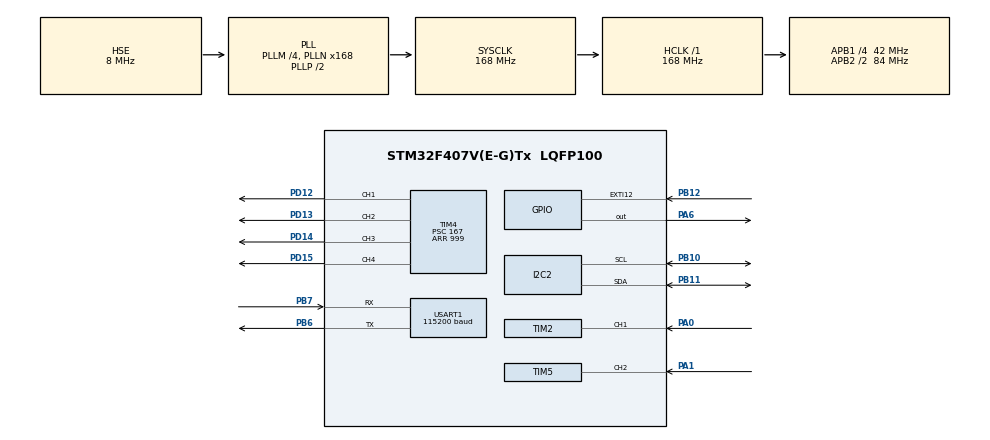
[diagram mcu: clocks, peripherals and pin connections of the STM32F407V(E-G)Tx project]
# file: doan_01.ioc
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Mcu.Family=STM32F4
Mcu.Name=STM32F407V(E-G)Tx
Mcu.Package=LQFP100
NVIC.EXTI15_10_IRQn=true\:2\:0\:true\:false\:true\:true\:true\:true
NVIC.PriorityGroup=NVIC_PRIORITYGROUP_4
NVIC.TIM2_IRQn=true\:1\:0\:true\:false\:true\:true\:true\:true
NVIC.TIM5_IRQn=true\:1\:0\:true\:false\:true\:true\:true\:true
PA0-WKUP.Signal=S_TIM2_CH1_ETR
PA1.Signal=S_TIM5_CH2
PA13.Mode=Serial_Wire
PA13.Signal=SYS_JTMS-SWDIO
PA14.Mode=Serial_Wire
PA14.Signal=SYS_JTCK-SWCLK
PA6.Signal=GPIO_Output
PB10.Mode=I2C
PB10.Signal=I2C2_SCL
PB11.Mode=I2C
PB11.Signal=I2C2_SDA
PB12.Signal=GPXTI12
PB6.Mode=Asynchronous
PB6.Signal=USART1_TX
PB7.Mode=Asynchronous
PB7.Signal=USART1_RX
PD12.Signal=S_TIM4_CH1
PD13.Signal=S_TIM4_CH2
PD14.Signal=S_TIM4_CH3
PD15.Signal=S_TIM4_CH4
PH0-OSC_IN.Mode=HSE-External-Oscillator
PH0-OSC_IN.Signal=RCC_OSC_IN
PH1-OSC_OUT.Mode=HSE-External-Oscillator
PH1-OSC_OUT.Signal=RCC_OSC_OUT
ProjectManager.HeapSize=0x200
ProjectManager.StackSize=0x400
ProjectManager.TargetToolchain=MDK-ARM V5.32
RCC.48MHZClocksFreq_Value=84000000
RCC.AHBFreq_Value=168000000
RCC.APB1CLKDivider=RCC_HCLK_DIV4
RCC.APB1Freq_Value=42000000
RCC.APB1TimFreq_Value=84000000
RCC.APB2CLKDivider=RCC_HCLK_DIV2
RCC.APB2Freq_Value=84000000
RCC.APB2TimFreq_Value=168000000
RCC.CortexFreq_Value=168000000
RCC.HCLKFreq_Value=168000000
RCC.HSE_VALUE=8000000
RCC.HSI_VALUE=16000000
RCC.LSE_VALUE=32768
RCC.PLLM=4
RCC.PLLN=168
RCC.PLLSourceVirtual=RCC_PLLSOURCE_HSE
RCC.SYSCLKFreq_VALUE=168000000
RCC.SYSCLKSource=RCC_SYSCLKSOURCE_PLLCLK
RCC.VCOOutputFreq_Value=336000000
SH.S_TIM2_CH1_ETR.0=TIM2_CH1,Input_Capture1_from_TI1
SH.S_TIM4_CH1.0=TIM4_CH1,PWM Generation1 CH1
SH.S_TIM4_CH2.0=TIM4_CH2,PWM Generation2 CH2
SH.S_TIM4_CH3.0=TIM4_CH3,PWM Generation3 CH3
SH.S_TIM4_CH4.0=TIM4_CH4,PWM Generation4 CH4
SH.S_TIM5_CH2.0=TIM5_CH2,Input_Capture2_from_TI2
TIM2.Channel-Input_Capture1_from_TI1=TIM_CHANNEL_1
TIM2.ICFilter_CH1=7
TIM2.Prescaler=83
TIM4.Channel-PWM\ Generation1\ CH1=TIM_CHANNEL_1
TIM4.Channel-PWM\ Generation2\ CH2=TIM_CHANNEL_2
TIM4.Channel-PWM\ Generation3\ CH3=TIM_CHANNEL_3
TIM4.Channel-PWM\ Generation4\ CH4=TIM_CHANNEL_4
TIM4.Period=999
TIM4.Prescaler=167
TIM5.Channel-Input_Capture2_from_TI2=TIM_CHANNEL_2
TIM5.ICFilter_CH2=7
TIM5.Prescaler=83
USART1.BaudRate=115200
USART1.VirtualMode=VM_ASYNC
VP_TIM2_VS_ClockSourceINT.Mode=Internal
VP_TIM4_VS_ClockSourceINT.Mode=Internal
VP_TIM5_VS_ClockSourceINT.Mode=Internal
board=custom

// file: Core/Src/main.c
/* USER CODE BEGIN Header */
/**
  ******************************************************************************
  * @file           : main.c
  * @brief          : Main program body
  ******************************************************************************
  * @attention
  *
  * Copyright (c) 2026 STMicroelectronics.
  * All rights reserved.
  *
  * This software is licensed under terms that can be found in the LICENSE file
  * in the root directory of this software component.
  * If no LICENSE file comes with this software, it is provided AS-IS.
  *
  ******************************************************************************
  */
/* USER CODE END Header */
#include "main.h"

/* USER CODE BEGIN Includes */
#include "control.h"
#include "mpu6050.h"
#include "string.h"
#include "stdio.h"
#include "delay.h"
#include "encoder.h"
#include "motor.h"
#include "types.h"
#include "navigation.h"   // <-- thêm dòng này
/* USER CODE END Includes */

I2C_HandleTypeDef hi2c2;

TIM_HandleTypeDef htim2;
TIM_HandleTypeDef htim4;
TIM_HandleTypeDef htim5;

UART_HandleTypeDef huart1;

void SystemClock_Config(void);
static void MX_GPIO_Init(void);
static void MX_TIM4_Init(void);
static void MX_TIM5_Init(void);
static void MX_I2C2_Init(void);
static void MX_TIM2_Init(void);
static void MX_USART1_UART_Init(void);

/* USER CODE BEGIN 0 */
char uart_buf[200];
u32 prev_10ms = 0;
_vo u32 g_ms = 0;
 _vo float g_sp_v =0.15f,g_sp_w = 0.0f;
i16 p_l ,p_r ;
float sr ,sl ;
_vo u8  Flag_Target ;
float heading_target = 0.0f;
extern volatile float yaw;

void Debug_Print1(void)
{
    char uart_buf[250]; // Tăng kích thước lên 250 để an toàn cho việc thêm biến

    // Thêm định dạng >yaw:%.2f\n vào cuối chuỗi và truyền thêm biến yaw
    sprintf(uart_buf,
           ">setL:%.2f,velL:%.2f,rpmL:%.1f,pwmL:%d,Xl:%f,setR:%.2f,velR:%.2f,rpmR: %.1f,pwmR:%d,xr:%f,yaw:%.2f,diff:%d\r\n",

            sl,
            ec_l.vel,
            ec_l.rpm,
            p_l,
            ec_l.dist,
            sr,
            ec_r.vel,
            ec_r.rpm,
            p_r,
            ec_r.dist,
            yaw,
            p_l - p_r
        );
    HAL_UART_Transmit(&huart1, (u8*)uart_buf, strlen(uart_buf), 20);
}
/* USER CODE END 0 */

int main(void)
{

  /* MCU Configuration--------------------------------------------------------*/

  /* Reset of all peripherals, Initializes the Flash interface and the Systick. */
  HAL_Init();

  /* Configure the system clock */
  SystemClock_Config();

  /* Initialize all configured peripherals */
  MX_GPIO_Init();
  MX_TIM4_Init();
  MX_TIM5_Init();
  MX_I2C2_Init();
  MX_TIM2_Init();
  MX_USART1_UART_Init();
  /* USER CODE BEGIN 2 */

  //delay_init();
  motor_init(7,1000);
  encoder_init();
  pid_setup();
  Kinematics_reset();
  mpu6050_Init();
  // 1. Hiệu chuẩn MPU6050
  mpu6050_Calibrate();
  // 2. Chờ 500ms để bộ lọc số MPU xả hết rác, xe đặt vững trên mặt đất
  HAL_Delay(500);
  // 3. DỌN SẠCH DỮ LIỆU ĐỒNG LOẠT
  yaw = 0.0f;
  heading_target = 0.0f; // Đồng bộ góc đích với góc thực tế

  ec_l.dist = 0.0f;
  ec_r.dist = 0.0f;
  last_dist_l = 0.0f; // Đồng bộ với encoder
  last_dist_r = 0.0f;

  Kinematics_reset(); // Reset tọa độ pose
  PID_Reset(&pid_l);
  PID_Reset(&pid_r);

  motor_stop();

  system_ready = 1;
  /* USER CODE END 2 */

  /* Infinite loop */
  /* USER CODE BEGIN WHILE */

  while (1)
  {

    test_robot_navigation();   /* Chay kich ban: thang 50cm -> trai 90 -> thang 50cm -> trai 90 -> thang mai */

    Debug_Print1();
    /* USER CODE END WHILE */

  }
}

void SystemClock_Config(void)
{
  RCC_OscInitTypeDef RCC_OscInitStruct = {0};
  RCC_ClkInitTypeDef RCC_ClkInitStruct = {0};

  /** Configure the main internal regulator output voltage
  */
  __HAL_RCC_PWR_CLK_ENABLE();
  __HAL_PWR_VOLTAGESCALING_CONFIG(PWR_REGULATOR_VOLTAGE_SCALE1);

  /** Initializes the RCC Oscillators according to the specified parameters
  * in the RCC_OscInitTypeDef structure.
  */
  RCC_OscInitStruct.OscillatorType = RCC_OSCILLATORTYPE_HSE;
  RCC_OscInitStruct.HSEState = RCC_HSE_ON;
  RCC_OscInitStruct.PLL.PLLState = RCC_PLL_ON;
  RCC_OscInitStruct.PLL.PLLSource = RCC_PLLSOURCE_HSE;
  RCC_OscInitStruct.PLL.PLLM = 4;
  RCC_OscInitStruct.PLL.PLLN = 168;
  RCC_OscInitStruct.PLL.PLLP = RCC_PLLP_DIV2;
  RCC_OscInitStruct.PLL.PLLQ = 4;
  if (HAL_RCC_OscConfig(&RCC_OscInitStruct) != HAL_OK)
  {
    Error_Handler();
  }

  /** Initializes the CPU, AHB and APB buses clocks
  */
  RCC_ClkInitStruct.ClockType = RCC_CLOCKTYPE_HCLK|RCC_CLOCKTYPE_SYSCLK
                              |RCC_CLOCKTYPE_PCLK1|RCC_CLOCKTYPE_PCLK2;
  RCC_ClkInitStruct.SYSCLKSource = RCC_SYSCLKSOURCE_PLLCLK;
  RCC_ClkInitStruct.AHBCLKDivider = RCC_SYSCLK_DIV1;
  RCC_ClkInitStruct.APB1CLKDivider = RCC_HCLK_DIV4;
  RCC_ClkInitStruct.APB2CLKDivider = RCC_HCLK_DIV2;

  if (HAL_RCC_ClockConfig(&RCC_ClkInitStruct, FLASH_LATENCY_5) != HAL_OK)
  {
    Error_Handler();
  }
}

static void MX_I2C2_Init(void)
{

  hi2c2.Instance = I2C2;
  hi2c2.Init.ClockSpeed = 100000;
  hi2c2.Init.DutyCycle = I2C_DUTYCYCLE_2;
  hi2c2.Init.OwnAddress1 = 0;
  hi2c2.Init.AddressingMode = I2C_ADDRESSINGMODE_7BIT;
  hi2c2.Init.DualAddressMode = I2C_DUALADDRESS_DISABLE;
  hi2c2.Init.OwnAddress2 = 0;
  hi2c2.Init.GeneralCallMode = I2C_GENERALCALL_DISABLE;
  hi2c2.Init.NoStretchMode = I2C_NOSTRETCH_DISABLE;
  if (HAL_I2C_Init(&hi2c2) != HAL_OK)
  {
    Error_Handler();
  }

}

static void MX_TIM2_Init(void)
{

  TIM_ClockConfigTypeDef sClockSourceConfig = {0};
  TIM_MasterConfigTypeDef sMasterConfig = {0};
  TIM_IC_InitTypeDef sConfigIC = {0};

  htim2.Instance = TIM2;
  htim2.Init.Prescaler = 83;
  htim2.Init.CounterMode = TIM_COUNTERMODE_UP;
  htim2.Init.Period = 4294967295;
  htim2.Init.ClockDivision = TIM_CLOCKDIVISION_DIV1;
  htim2.Init.AutoReloadPreload = TIM_AUTORELOAD_PRELOAD_DISABLE;
  if (HAL_TIM_Base_Init(&htim2) != HAL_OK)
  {
    Error_Handler();
  }
  sClockSourceConfig.ClockSource = TIM_CLOCKSOURCE_INTERNAL;
  if (HAL_TIM_ConfigClockSource(&htim2, &sClockSourceConfig) != HAL_OK)
  {
    Error_Handler();
  }
  if (HAL_TIM_IC_Init(&htim2) != HAL_OK)
  {
    Error_Handler();
  }
  sMasterConfig.MasterOutputTrigger = TIM_TRGO_RESET;
  sMasterConfig.MasterSlaveMode = TIM_MASTERSLAVEMODE_DISABLE;
  if (HAL_TIMEx_MasterConfigSynchronization(&htim2, &sMasterConfig) != HAL_OK)
  {
    Error_Handler();
  }
  sConfigIC.ICPolarity = TIM_INPUTCHANNELPOLARITY_RISING;
  sConfigIC.ICSelection = TIM_ICSELECTION_DIRECTTI;
  sConfigIC.ICPrescaler = TIM_ICPSC_DIV1;
  sConfigIC.ICFilter = 7;
  if (HAL_TIM_IC_ConfigChannel(&htim2, &sConfigIC, TIM_CHANNEL_1) != HAL_OK)
  {
    Error_Handler();
  }

}

static void MX_TIM4_Init(void)
{

  TIM_ClockConfigTypeDef sClockSourceConfig = {0};
  TIM_MasterConfigTypeDef sMasterConfig = {0};
  TIM_OC_InitTypeDef sConfigOC = {0};

  htim4.Instance = TIM4;
  htim4.Init.Prescaler = 167;
  htim4.Init.CounterMode = TIM_COUNTERMODE_UP;
  htim4.Init.Period = 999;
  htim4.Init.ClockDivision = TIM_CLOCKDIVISION_DIV1;
  htim4.Init.AutoReloadPreload = TIM_AUTORELOAD_PRELOAD_DISABLE;
  if (HAL_TIM_Base_Init(&htim4) != HAL_OK)
  {
    Error_Handler();
  }
  sClockSourceConfig.ClockSource = TIM_CLOCKSOURCE_INTERNAL;
  if (HAL_TIM_ConfigClockSource(&htim4, &sClockSourceConfig) != HAL_OK)
  {
    Error_Handler();
  }
  if (HAL_TIM_PWM_Init(&htim4) != HAL_OK)
  {
    Error_Handler();
  }
  sMasterConfig.MasterOutputTrigger = TIM_TRGO_RESET;
  sMasterConfig.MasterSlaveMode = TIM_MASTERSLAVEMODE_DISABLE;
  if (HAL_TIMEx_MasterConfigSynchronization(&htim4, &sMasterConfig) != HAL_OK)
  {
    Error_Handler();
  }
  sConfigOC.OCMode = TIM_OCMODE_PWM1;
  sConfigOC.Pulse = 0;
  sConfigOC.OCPolarity = TIM_OCPOLARITY_HIGH;
  sConfigOC.OCFastMode = TIM_OCFAST_DISABLE;
  if (HAL_TIM_PWM_ConfigChannel(&htim4, &sConfigOC, TIM_CHANNEL_1) != HAL_OK)
  {
    Error_Handler();
  }
  if (HAL_TIM_PWM_ConfigChannel(&htim4, &sConfigOC, TIM_CHANNEL_2) != HAL_OK)
  {
    Error_Handler();
  }
  if (HAL_TIM_PWM_ConfigChannel(&htim4, &sConfigOC, TIM_CHANNEL_3) != HAL_OK)
  {
    Error_Handler();
  }
  if (HAL_TIM_PWM_ConfigChannel(&htim4, &sConfigOC, TIM_CHANNEL_4) != HAL_OK)
  {
    Error_Handler();
  }
  HAL_TIM_MspPostInit(&htim4);

}

static void MX_TIM5_Init(void)
{

  TIM_ClockConfigTypeDef sClockSourceConfig = {0};
  TIM_MasterConfigTypeDef sMasterConfig = {0};
  TIM_IC_InitTypeDef sConfigIC = {0};

  htim5.Instance = TIM5;
  htim5.Init.Prescaler = 83;
  htim5.Init.CounterMode = TIM_COUNTERMODE_UP;
  htim5.Init.Period = 4294967295;
  htim5.Init.ClockDivision = TIM_CLOCKDIVISION_DIV1;
  htim5.Init.AutoReloadPreload = TIM_AUTORELOAD_PRELOAD_DISABLE;
  if (HAL_TIM_Base_Init(&htim5) != HAL_OK)
  {
    Error_Handler();
  }
  sClockSourceConfig.ClockSource = TIM_CLOCKSOURCE_INTERNAL;
  if (HAL_TIM_ConfigClockSource(&htim5, &sClockSourceConfig) != HAL_OK)
  {
    Error_Handler();
  }
  if (HAL_TIM_IC_Init(&htim5) != HAL_OK)
  {
    Error_Handler();
  }
  sMasterConfig.MasterOutputTrigger = TIM_TRGO_RESET;
  sMasterConfig.MasterSlaveMode = TIM_MASTERSLAVEMODE_DISABLE;
  if (HAL_TIMEx_MasterConfigSynchronization(&htim5, &sMasterConfig) != HAL_OK)
  {
    Error_Handler();
  }
  sConfigIC.ICPolarity = TIM_INPUTCHANNELPOLARITY_RISING;
  sConfigIC.ICSelection = TIM_ICSELECTION_DIRECTTI;
  sConfigIC.ICPrescaler = TIM_ICPSC_DIV1;
  sConfigIC.ICFilter = 7;
  if (HAL_TIM_IC_ConfigChannel(&htim5, &sConfigIC, TIM_CHANNEL_2) != HAL_OK)
  {
    Error_Handler();
  }

}

static void MX_USART1_UART_Init(void)
{

  huart1.Instance = USART1;
  huart1.Init.BaudRate = 115200;
  huart1.Init.WordLength = UART_WORDLENGTH_8B;
  huart1.Init.StopBits = UART_STOPBITS_1;
  huart1.Init.Parity = UART_PARITY_NONE;
  huart1.Init.Mode = UART_MODE_TX_RX;
  huart1.Init.HwFlowCtl = UART_HWCONTROL_NONE;
  huart1.Init.OverSampling = UART_OVERSAMPLING_16;
  if (HAL_UART_Init(&huart1) != HAL_OK)
  {
    Error_Handler();
  }

}

static void MX_GPIO_Init(void)
{
  GPIO_InitTypeDef GPIO_InitStruct = {0};

  /* GPIO Ports Clock Enable */
  __HAL_RCC_GPIOH_CLK_ENABLE();
  __HAL_RCC_GPIOA_CLK_ENABLE();
  __HAL_RCC_GPIOB_CLK_ENABLE();
  __HAL_RCC_GPIOD_CLK_ENABLE();

  /*Configure GPIO pin Output Level */
  HAL_GPIO_WritePin(GPIOA, GPIO_PIN_6, GPIO_PIN_RESET);

  /*Configure GPIO pin : PA6 */
  GPIO_InitStruct.Pin = GPIO_PIN_6;
  GPIO_InitStruct.Mode = GPIO_MODE_OUTPUT_PP;
  GPIO_InitStruct.Pull = GPIO_NOPULL;
  GPIO_InitStruct.Speed = GPIO_SPEED_FREQ_LOW;
  HAL_GPIO_Init(GPIOA, &GPIO_InitStruct);

  /*Configure GPIO pin : PB12 */
  GPIO_InitStruct.Pin = GPIO_PIN_12;
  GPIO_InitStruct.Mode = GPIO_MODE_IT_RISING;
  GPIO_InitStruct.Pull = GPIO_NOPULL;
  HAL_GPIO_Init(GPIOB, &GPIO_InitStruct);

  /* EXTI interrupt init*/
  HAL_NVIC_SetPriority(EXTI15_10_IRQn, 2, 0);
  HAL_NVIC_EnableIRQ(EXTI15_10_IRQn);

}

void Error_Handler(void)
{
  __disable_irq();
  while (1)
  {
  }
}
